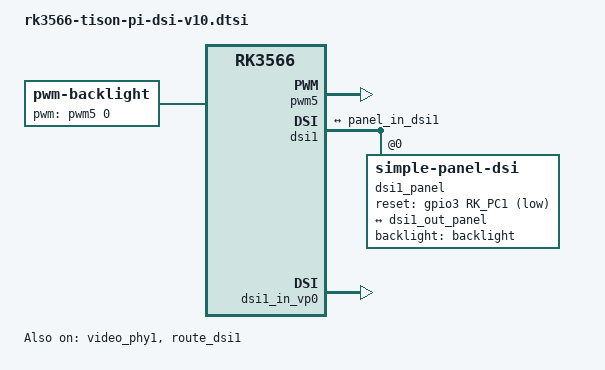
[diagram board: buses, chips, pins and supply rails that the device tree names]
// SPDX-License-Identifier: (GPL-2.0+ OR MIT)
/*
 * Copyright (c) 2020 Rockchip Electronics Co., Ltd.
 *
 */
 
/ {
	backlight: backlight {
		compatible = "pwm-backlight";
		pwms = <&pwm5 0 25000 0>;
		brightness-levels = <
			  0  20  20  21  21  22  22  23
			 23  24  24  25  25  26  26  27
			 27  28  28  29  29  30  30  31
			 31  32  32  33  33  34  34  35
			 35  36  36  37  37  38  38  39
			 40  41  42  43  44  45  46  47
			 48  49  50  51  52  53  54  55
			 56  57  58  59  60  61  62  63
			 64  65  66  67  68  69  70  71
			 72  73  74  75  76  77  78  79
			 80  81  82  83  84  85  86  87
			 88  89  90  91  92  93  94  95
			 96  97  98  99 100 101 102 103
			104 105 106 107 108 109 110 111
			112 113 114 115 116 117 118 119
			120 121 122 123 124 125 126 127
			128 129 130 131 132 133 134 135
			136 137 138 139 140 141 142 143
			144 145 146 147 148 149 150 151
			152 153 154 155 156 157 158 159
			160 161 162 163 164 165 166 167
			168 169 170 171 172 173 174 175
			176 177 178 179 180 181 182 183
			184 185 186 187 188 189 190 191
			192 193 194 195 196 197 198 199
			200 201 202 203 204 205 206 207
			208 209 210 211 212 213 214 215
			216 217 218 219 220 221 222 223
			224 225 226 227 228 229 230 231
			232 233 234 235 236 237 238 239
			240 241 242 243 244 245 246 247
			248 249 250 251 252 253 254 255
		>;
		default-brightness-level = <255>;
	};
};

&pwm5 {
	status = "okay";
};


&pinctrl {
	dsi1 {
		dsi1_rst_gpio: dsi1-rst-gpio {
			rockchip,pins = <3 RK_PC1 RK_FUNC_GPIO &pcfg_pull_none>;
		};
	};
};

/*
 * video_phy1 needs to be enabled
 * when dsi1 is enabled
 */
&dsi1 {
	status = "okay";
};

&dsi1_in_vp0 {
	status = "okay";
};

&dsi1_in_vp1 {
	status = "disabled";
};

&video_phy1 {
	status = "okay";
};

&route_dsi1 {
	status = "okay";//wucaicheng mipi okay
	connect = <&vp0_out_dsi1>;
};

//默认 8寸800x1280
&dsi1 {
	status = "okay";
	rockchip,lane-rate = <480>;
	dsi1_panel: panel@0 {
		status = "okay";
		compatible = "simple-panel-dsi";
		reset-gpios = <&gpio3 RK_PC1 GPIO_ACTIVE_LOW>;
		pinctrl-names = "default";
		pinctrl-0 = <&dsi1_rst_gpio>;
		reg = <0>;
		backlight = <&backlight>;
		reset-delay-ms = <10>;
		enable-delay-ms = <120>;
		prepare-delay-ms = <20>;
		unprepare-delay-ms = <20>;
		disable-delay-ms = <50>;
		dsi,flags = <(MIPI_DSI_MODE_VIDEO | MIPI_DSI_MODE_VIDEO_BURST |
			MIPI_DSI_MODE_LPM | MIPI_DSI_MODE_EOT_PACKET)>;
		dsi,format = <MIPI_DSI_FMT_RGB888>;
		dsi,lanes  = <4>;
		panel-init-sequence = [
			15 0A 02 E0 00
            15 00 02 E1 93
            15 00 02 E2 65
            15 00 02 E3 F8
            15 00 02 80 03
            15 00 02 E0 01
            15 00 02 00 00
            15 00 02 01 72
            15 00 02 03 00
            15 00 02 04 80
            15 00 02 17 00
            15 00 02 18 AF
            15 00 02 19 00
            15 00 02 1A 00
            15 00 02 1B AF
            15 00 02 1C 00
            15 00 02 24 FE
            15 00 02 37 19
            15 00 02 38 05
            15 00 02 39 00
            15 00 02 3A 01
            15 00 02 3B 01
            15 00 02 3C 70
            15 00 02 3D FF
            15 00 02 3E FF
            15 00 02 3F FF
            15 00 02 40 06
            15 00 02 41 A0
            15 00 02 43 1E
            15 00 02 44 10
            15 00 02 45 28
            15 00 02 4B 04
            15 00 02 55 02
            15 00 02 56 01
            15 00 02 57 A9
            15 00 02 58 0A
            15 00 02 59 0A
            15 00 02 5A 37
            15 00 02 5B 1A
            15 00 02 5D 7F
            15 00 02 5E 6A
            15 00 02 5F 5B
            15 00 02 60 50
            15 00 02 61 4D
            15 00 02 62 3F
            15 00 02 63 44
            15 00 02 64 2E
            15 00 02 65 49
            15 00 02 66 48
            15 00 02 67 48
            15 00 02 68 66
            15 00 02 69 54
            15 00 02 6A 5A
            15 00 02 6B 4C
            15 00 02 6C 44
            15 00 02 6D 37
            15 00 02 6E 23
            15 00 02 6F 10
            15 00 02 70 7F
            15 00 02 71 6A
            15 00 02 72 5B
            15 00 02 73 50
            15 00 02 74 4D
            15 00 02 75 3F
            15 00 02 76 44
            15 00 02 77 2E
            15 00 02 78 49
            15 00 02 79 48
            15 00 02 7A 48
            15 00 02 7B 66
            15 00 02 7C 54
            15 00 02 7D 5A
            15 00 02 7E 4C
            15 00 02 7F 44
            15 00 02 80 37
            15 00 02 81 23
            15 00 02 82 10
            15 00 02 E0 02
            15 00 02 00 4B
            15 00 02 01 4B
            15 00 02 02 49
            15 00 02 03 49
            15 00 02 04 47
            15 00 02 05 47
            15 00 02 06 45
            15 00 02 07 45
            15 00 02 08 41
            15 00 02 09 1F
            15 00 02 0A 1F
            15 00 02 0B 1F
            15 00 02 0C 1F
            15 00 02 0D 1F
            15 00 02 0E 1F
            15 00 02 0F 5F
            15 00 02 10 5F
            15 00 02 11 57
            15 00 02 12 77
            15 00 02 13 35
            15 00 02 14 1F
            15 00 02 15 1F
            15 00 02 16 4A
            15 00 02 17 4A
            15 00 02 18 48
            15 00 02 19 48
            15 00 02 1A 46
            15 00 02 1B 46
            15 00 02 1C 44
            15 00 02 1D 44
            15 00 02 1E 40
            15 00 02 1F 1F
            15 00 02 20 1F
            15 00 02 21 1F
            15 00 02 22 1F
            15 00 02 23 1F
            15 00 02 24 1F
            15 00 02 25 5F
            15 00 02 26 5F
            15 00 02 27 57
            15 00 02 28 77
            15 00 02 29 35
            15 00 02 2A 1F
            15 00 02 2B 1F
            15 00 02 58 40
            15 00 02 59 00
            15 00 02 5A 00
            15 00 02 5B 10
            15 00 02 5C 02
            15 00 02 5D 40
            15 00 02 5E 01
            15 00 02 5F 02
            15 00 02 60 30
            15 00 02 61 01
            15 00 02 62 02
            15 00 02 63 03
            15 00 02 64 6B
            15 00 02 65 05
            15 00 02 66 0C
            15 00 02 67 73
            15 00 02 68 06
            15 00 02 69 03
            15 00 02 6A 56
            15 00 02 6B 08
            15 00 02 6C 00
            15 00 02 6D 04
            15 00 02 6E 04
            15 00 02 6F 88
            15 00 02 70 00
            15 00 02 71 00
            15 00 02 72 06
            15 00 02 73 7B
            15 00 02 74 00
            15 00 02 75 F8
            15 00 02 76 00
            15 00 02 77 D5
            15 00 02 78 2E
            15 00 02 79 12
            15 00 02 7A 03
            15 00 02 7B 00
            15 00 02 7C 00
            15 00 02 7D 03
            15 00 02 7E 7B
            15 00 02 E0 04
            15 00 02 00 0E
            15 00 02 02 B3
            15 00 02 09 60
            15 00 02 0E 2A
            15 00 02 36 59
            15 00 02 E0 00
            15 00 02 51 80
            15 00 02 53 2C
            15 00 02 55 00
            15 78 02 11 00
            15 14 02 29 00
            15 05 02 35 00
		];

		panel-exit-sequence = [
			05 00 01 28
			05 00 01 10
		];

		disp_timings1: display-timings {
			native-mode = <&dsi1_timing0>;
			dsi1_timing0: timing0 {
				clock-frequency = <72000000>;
				hactive = <800>;    //水平像素点数
                vactive = <1280>;   //垂直像素点数
                hsync-len = <20>;   //水平同步信号宽度HSYNC/thp
                hback-porch = <20>; //水平同步后肩
                hfront-porch = <40>;//水平同步前肩
                vsync-len = <4>;    //垂直同步信号宽度VSYNC/tvp
                vback-porch = <12>; //垂直同步后肩
                vfront-porch = <30>;//垂直同步前肩
                hsync-active = <0>; //hsync激活有效电平为低电平
                vsync-active = <0>; //vsync激活有效电平为低电平
                de-active = <0>;    //de激活有效电平为低电平
                pixelclk-active = <0>; //pixelclk激活有效电平为低电平
			};
		};

		ports {
			#address-cells = <1>;
			#size-cells = <0>;

			port@0 {
				reg = <0>;
				panel_in_dsi1: endpoint {
					remote-endpoint = <&dsi1_out_panel>;
				};
			};
		};
	};

	ports {
		#address-cells = <1>;
		#size-cells = <0>;

		port@1 {
			reg = <1>;
			dsi1_out_panel: endpoint {
				remote-endpoint = <&panel_in_dsi1>;
			};
		};
	};

};

// &dsi1 {
// 	status = "okay";
// 	rockchip,lane-rate = <1000>;
// 	dsi1_panel: panel@0 {
// 		status = "okay";
// 		compatible = "simple-panel-dsi";
// 		reset-gpios = <&gpio3 RK_PC1 GPIO_ACTIVE_LOW>;
// 		pinctrl-names = "default";
// 		pinctrl-0 = <&dsi1_rst_gpio>;
// 		reg = <0>;
// 		backlight = <&backlight>;
// 		reset-delay-ms = <100>;
// 		enable-delay-ms = <120>;
// 		prepare-delay-ms = <20>;
// 		unprepare-delay-ms = <20>;
// 		disable-delay-ms = <100>;
// 		dsi,flags = <(MIPI_DSI_MODE_VIDEO | MIPI_DSI_MODE_VIDEO_BURST |
// 			MIPI_DSI_MODE_LPM | MIPI_DSI_MODE_EOT_PACKET)>;
// 		dsi,format = <MIPI_DSI_FMT_RGB888>;
// 		dsi,lanes  = <4>;
// 		panel-init-sequence = [
// 			15 00 02 B0 01
// 			15 00 02 C3 4F
// 			15 00 02 C4 40
// 			15 00 02 C5 40
// 			15 00 02 C6 40
// 			15 00 02 C7 40
// 			15 00 02 C8 4D
// 			15 00 02 C9 52
// 			15 00 02 CA 51
// 			15 00 02 CD 5D
// 			15 00 02 CE 5B
// 			15 00 02 CF 4B
// 			15 00 02 D0 49
// 			15 00 02 D1 47
// 			15 00 02 D2 45
// 			15 00 02 D3 41
// 			15 00 02 D7 50
// 			15 00 02 D8 40
// 			15 00 02 D9 40
// 			15 00 02 DA 40
// 			15 00 02 DB 40
// 			15 00 02 DC 4E
// 			15 00 02 DD 52
// 			15 00 02 DE 51
// 			15 00 02 E1 5E
// 			15 00 02 E2 5C
// 			15 00 02 E3 4C
// 			15 00 02 E4 4A
// 			15 00 02 E5 48
// 			15 00 02 E6 46
// 			15 00 02 E7 42
// 			15 00 02 B0 03
// 			15 00 02 BE 03
// 			15 00 02 CC 44
// 			15 00 02 C8 07
// 			15 00 02 C9 05
// 			15 00 02 CA 42
// 			15 00 02 CD 3E
// 			15 00 02 CF 60
// 			15 00 02 D2 04
// 			15 00 02 D3 04
// 			15 00 02 D4 01
// 			15 00 02 D5 00
// 			15 00 02 D6 03
// 			15 00 02 D7 04
// 			15 00 02 D9 01
// 			15 00 02 DB 01
// 			15 00 02 E4 F0
// 			15 00 02 E5 0A
// 			15 00 02 B0 00
// 			15 00 02 B1 08
// 			15 00 02 BD 54
// 			15 00 02 C2 06
// 			15 00 02 C4 0B
// 			15 00 02 B0 02
// 			15 00 02 C0 00
// 			15 00 02 C1 0A
// 			15 00 02 C2 20
// 			15 00 02 C3 24
// 			15 00 02 C4 23
// 			15 00 02 C5 29
// 			15 00 02 C6 23
// 			15 00 02 C7 1C
// 			15 00 02 C8 19
// 			15 00 02 C9 17
// 			15 00 02 CA 17
// 			15 00 02 CB 18
// 			15 00 02 CC 1A
// 			15 00 02 CD 1E
// 			15 00 02 CE 20
// 			15 00 02 CF 23
// 			15 00 02 D0 07
// 			15 00 02 D1 00
// 			15 00 02 D2 00
// 			15 00 02 D3 0A
// 			15 00 02 D4 13
// 			15 00 02 D5 1C
// 			15 00 02 D6 1A
// 			15 00 02 D7 13
// 			15 00 02 D8 17
// 			15 00 02 D9 1C
// 			15 00 02 DA 19
// 			15 00 02 DB 17
// 			15 00 02 DC 17
// 			15 00 02 DD 18
// 			15 00 02 DE 1A
// 			15 00 02 DF 1E
// 			15 00 02 E0 20
// 			15 00 02 E1 23
// 			15 00 02 E2 07
// 			05 78 01 11
// 			05 14 01 29
// 		];

// 		panel-exit-sequence = [
// 			05 00 01 28
// 			05 00 01 10
// 		];

// 		disp_timings1: display-timings {
// 			native-mode = <&dsi1_timing0>;
// 			dsi1_timing0: timing0 {
// 				clock-frequency = <156000000>;
// 				hactive = <1200 >;
// 				vactive = <1920>;
// 				hfront-porch = <42>;
// 				hsync-len = <10>;
// 				hback-porch = <32>;
// 				vfront-porch = <35>;
// 				vsync-len = <4>;
// 				vback-porch = <30>;
// 				hsync-active = <0>;
// 				vsync-active = <0>;
// 				de-active = <0>;
// 				pixelclk-active = <0>;
// 			};
// 		};

// 		ports {
// 			#address-cells = <1>;
// 			#size-cells = <0>;

// 			port@0 {
// 				reg = <0>;
// 				panel_in_dsi1: endpoint {
// 					remote-endpoint = <&dsi1_out_panel>;
// 				};
// 			};
// 		};
// 	};

// 	ports {
// 		#address-cells = <1>;
// 		#size-cells = <0>;

// 		port@1 {
// 			reg = <1>;
// 			dsi1_out_panel: endpoint {
// 				remote-endpoint = <&panel_in_dsi1>;
// 			};
// 		};
// 	};

// };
